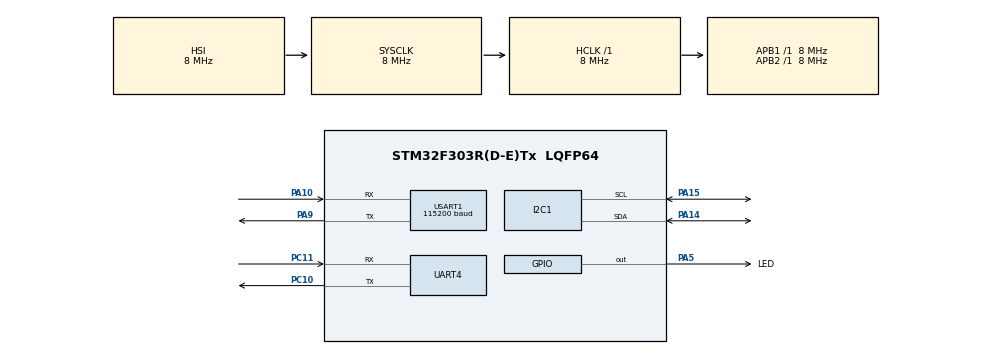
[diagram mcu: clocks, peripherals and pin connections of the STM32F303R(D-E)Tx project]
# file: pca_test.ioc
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Dma.Request0=USART1_RX
Dma.USART1_RX.0.Direction=DMA_PERIPH_TO_MEMORY
Dma.USART1_RX.0.Instance=DMA1_Channel5
Dma.USART1_RX.0.MemDataAlignment=DMA_MDATAALIGN_BYTE
Dma.USART1_RX.0.MemInc=DMA_MINC_ENABLE
Dma.USART1_RX.0.Mode=DMA_NORMAL
Dma.USART1_RX.0.PeriphDataAlignment=DMA_PDATAALIGN_BYTE
Dma.USART1_RX.0.PeriphInc=DMA_PINC_DISABLE
Dma.USART1_RX.0.Priority=DMA_PRIORITY_LOW
I2C1.Timing=0x00201D2B
Mcu.Family=STM32F3
Mcu.Name=STM32F303R(D-E)Tx
Mcu.Package=LQFP64
NVIC.DMA1_Channel5_IRQn=true\:0\:0\:false\:false\:true\:false\:true\:true
NVIC.PriorityGroup=NVIC_PRIORITYGROUP_4
PA10.Mode=Asynchronous
PA10.Signal=USART1_RX
PA14.Mode=I2C
PA14.Signal=I2C1_SDA
PA15.Mode=I2C
PA15.Signal=I2C1_SCL
PA5.GPIO_Label=LED
PA5.Signal=GPIO_Output
PA9.Mode=Asynchronous
PA9.Signal=USART1_TX
PC10.Mode=Asynchronous
PC10.Signal=UART4_TX
PC11.Mode=Asynchronous
PC11.Signal=UART4_RX
ProjectManager.HeapSize=0x200
ProjectManager.StackSize=0x400
ProjectManager.TargetToolchain=STM32CubeIDE
RCC.AHBFreq_Value=8000000
RCC.APB1Freq_Value=8000000
RCC.APB2Freq_Value=8000000
RCC.CortexFreq_Value=8000000
RCC.HSE_VALUE=8000000
RCC.HSI_VALUE=8000000
RCC.LSE_VALUE=32768
RCC.SYSCLKFreq_VALUE=8000000
USART1.BaudRate=115200
USART1.VirtualMode-Asynchronous=VM_ASYNC
board=custom

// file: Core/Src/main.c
/* USER CODE BEGIN Header */
/**
  ******************************************************************************
  * @file           : main.c
  * @brief          : Main program body
  ******************************************************************************
  * @attention
  *
  * Copyright (c) 2026 STMicroelectronics.
  * All rights reserved.
  *
  * This software is licensed under terms that can be found in the LICENSE file
  * in the root directory of this software component.
  * If no LICENSE file comes with this software, it is provided AS-IS.
  *
  ******************************************************************************
  */
/* USER CODE END Header */
#include "main.h"

/* USER CODE BEGIN PD */
#define PCA9685_ADDRESS_MOTOR (0x40 << 1) //default address at I2C bus 1
#define PCA9685_ADDRESS_CAM (0x41 << 1) //solder address pad 1
#define AS5600_ADDRESS (0x36 << 1)
#define AS5600_ANGLE_H 0x0E	//lower 4 of upper 8 bit register
#define AS5600_ANGLE_L 0x0F //lower 8 bits of angle (12 bit)
#define TCA9548A_ADDRESS (0x70 << 1)
#define PCA9685_PRESCALE 0xFE
#define PCA9685_MODE1 0x00 //normal working --> mode1
#define PCA9685_LED0_ON_L 0x06 //starting register of channel 0 of 16. Each channel has 4 registers

/* USER CODE END PD */

I2C_HandleTypeDef hi2c1;

UART_HandleTypeDef huart4;
UART_HandleTypeDef huart1;
DMA_HandleTypeDef hdma_usart1_rx;

void SystemClock_Config(void);
static void MX_GPIO_Init(void);
static void MX_DMA_Init(void);
static void MX_I2C1_Init(void);
static void MX_UART4_Init(void);
static void MX_USART1_UART_Init(void);

/* USER CODE BEGIN 0 */
//void PCA9685_MOTOR_Init(void) {
//    uint8_t mode1 = 0x00;
//    HAL_I2C_Mem_Write(&hi2c2, PCA9685_ADDRESS_MOTOR, PCA9685_MODE1, 1, &mode1, 1, HAL_MAX_DELAY);
//    HAL_Delay(3);
//}
//
//uint8_t mag_enc_array[] = {0,2,4,6};
////end
//
//
//// Set PWM frequency for Motors
//void PCA9685_MOTOR_SetFrequency(uint16_t freq) {
//    uint8_t prescale = (uint8_t)(25000000.0 / (4096 * freq) - 1);
//
//    uint8_t oldmode;
//    HAL_I2C_Mem_Read(&hi2c2, PCA9685_ADDRESS_MOTOR, PCA9685_MODE1, 1, &oldmode, 1, HAL_MAX_DELAY);
//
//    uint8_t newmode = (oldmode & 0x7F) | 0x10; // Sleep (make reset 0 and sleep bit 1)
//    HAL_I2C_Mem_Write(&hi2c2, PCA9685_ADDRESS_MOTOR, PCA9685_MODE1, 1, &newmode, 1, HAL_MAX_DELAY);
//    HAL_I2C_Mem_Write(&hi2c2, PCA9685_ADDRESS_MOTOR, PCA9685_PRESCALE, 1, &prescale, 1, HAL_MAX_DELAY);
//    HAL_I2C_Mem_Write(&hi2c2, PCA9685_ADDRESS_MOTOR, PCA9685_MODE1, 1, &oldmode, 1, HAL_MAX_DELAY);
//    HAL_Delay(3);
//
//    uint8_t mode = oldmode | 0xA0; // Auto-increment
//    HAL_I2C_Mem_Write(&hi2c2, PCA9685_ADDRESS_MOTOR, PCA9685_MODE1, 1, &mode, 1, HAL_MAX_DELAY);
//}
//
//void PCA9685_MOTOR_SetPWM(uint8_t channel, uint16_t on, uint16_t off) {
//    uint8_t data[4];
//    data[0] = on & 0xFF; //last 8 bits on LED_ON_L
//    data[1] = on >> 8; //top 8 (last 4 of those) on LED_ON_H
//    data[2] = off & 0xFF; //last 8 bits on LED_OFF_L
//    data[3] = off >> 8; //top 8 (last 4 of those) on LED_OFF_H
//
//    HAL_I2C_Mem_Write(&hi2c2, PCA9685_ADDRESS_MOTOR, PCA9685_LED0_ON_L + 4*channel, 1, data, 4, HAL_MAX_DELAY);
//}

/* USER CODE END 0 */

int main(void)
{

  /* MCU Configuration--------------------------------------------------------*/

  /* Reset of all peripherals, Initializes the Flash interface and the Systick. */
  HAL_Init();

  /* Configure the system clock */
  SystemClock_Config();

  /* Initialize all configured peripherals */
  MX_GPIO_Init();
  MX_DMA_Init();
  MX_I2C1_Init();
  MX_UART4_Init();
  MX_USART1_UART_Init();
  /* USER CODE BEGIN 2 */
//
//  PCA9685_MOTOR_Init();
//  PCA9685_MOTOR_SetFrequency(1000);
//  PCA9685_MOTOR_SetPWM(0, 0, 0);

  /* USER CODE END 2 */

  /* Infinite loop */
  while (1)
  {

    /* USER CODE BEGIN 3 */
	uint8_t msg[] = {1, 2};
	HAL_UART_Transmit(&huart4, msg, 2, HAL_MAX_DELAY);
	HAL_GPIO_WritePin(LED_GPIO_Port, LED_Pin, 1);
	HAL_Delay(20);
	HAL_GPIO_WritePin(LED_GPIO_Port, LED_Pin, 0);
	HAL_Delay(150);
  }
  /* USER CODE END 3 */
}

void SystemClock_Config(void)
{
  RCC_OscInitTypeDef RCC_OscInitStruct = {0};
  RCC_ClkInitTypeDef RCC_ClkInitStruct = {0};
  RCC_PeriphCLKInitTypeDef PeriphClkInit = {0};

  /** Initializes the RCC Oscillators according to the specified parameters
  * in the RCC_OscInitTypeDef structure.
  */
  RCC_OscInitStruct.OscillatorType = RCC_OSCILLATORTYPE_HSI;
  RCC_OscInitStruct.HSIState = RCC_HSI_ON;
  RCC_OscInitStruct.HSICalibrationValue = RCC_HSICALIBRATION_DEFAULT;
  RCC_OscInitStruct.PLL.PLLState = RCC_PLL_NONE;
  if (HAL_RCC_OscConfig(&RCC_OscInitStruct) != HAL_OK)
  {
    Error_Handler();
  }

  /** Initializes the CPU, AHB and APB buses clocks
  */
  RCC_ClkInitStruct.ClockType = RCC_CLOCKTYPE_HCLK|RCC_CLOCKTYPE_SYSCLK
                              |RCC_CLOCKTYPE_PCLK1|RCC_CLOCKTYPE_PCLK2;
  RCC_ClkInitStruct.SYSCLKSource = RCC_SYSCLKSOURCE_HSI;
  RCC_ClkInitStruct.AHBCLKDivider = RCC_SYSCLK_DIV1;
  RCC_ClkInitStruct.APB1CLKDivider = RCC_HCLK_DIV1;
  RCC_ClkInitStruct.APB2CLKDivider = RCC_HCLK_DIV1;

  if (HAL_RCC_ClockConfig(&RCC_ClkInitStruct, FLASH_LATENCY_0) != HAL_OK)
  {
    Error_Handler();
  }
  PeriphClkInit.PeriphClockSelection = RCC_PERIPHCLK_USART1|RCC_PERIPHCLK_UART4
                              |RCC_PERIPHCLK_I2C1;
  PeriphClkInit.Usart1ClockSelection = RCC_USART1CLKSOURCE_PCLK2;
  PeriphClkInit.Uart4ClockSelection = RCC_UART4CLKSOURCE_PCLK1;
  PeriphClkInit.I2c1ClockSelection = RCC_I2C1CLKSOURCE_HSI;
  if (HAL_RCCEx_PeriphCLKConfig(&PeriphClkInit) != HAL_OK)
  {
    Error_Handler();
  }
}

static void MX_I2C1_Init(void)
{

  hi2c1.Instance = I2C1;
  hi2c1.Init.Timing = 0x00201D2B;
  hi2c1.Init.OwnAddress1 = 0;
  hi2c1.Init.AddressingMode = I2C_ADDRESSINGMODE_7BIT;
  hi2c1.Init.DualAddressMode = I2C_DUALADDRESS_DISABLE;
  hi2c1.Init.OwnAddress2 = 0;
  hi2c1.Init.OwnAddress2Masks = I2C_OA2_NOMASK;
  hi2c1.Init.GeneralCallMode = I2C_GENERALCALL_DISABLE;
  hi2c1.Init.NoStretchMode = I2C_NOSTRETCH_DISABLE;
  if (HAL_I2C_Init(&hi2c1) != HAL_OK)
  {
    Error_Handler();
  }

  /** Configure Analogue filter
  */
  if (HAL_I2CEx_ConfigAnalogFilter(&hi2c1, I2C_ANALOGFILTER_ENABLE) != HAL_OK)
  {
    Error_Handler();
  }

  /** Configure Digital filter
  */
  if (HAL_I2CEx_ConfigDigitalFilter(&hi2c1, 0) != HAL_OK)
  {
    Error_Handler();
  }

}

static void MX_UART4_Init(void)
{

  huart4.Instance = UART4;
  huart4.Init.BaudRate = 115200;
  huart4.Init.WordLength = UART_WORDLENGTH_8B;
  huart4.Init.StopBits = UART_STOPBITS_1;
  huart4.Init.Parity = UART_PARITY_NONE;
  huart4.Init.Mode = UART_MODE_TX_RX;
  huart4.Init.HwFlowCtl = UART_HWCONTROL_NONE;
  huart4.Init.OverSampling = UART_OVERSAMPLING_16;
  huart4.Init.OneBitSampling = UART_ONE_BIT_SAMPLE_DISABLE;
  huart4.AdvancedInit.AdvFeatureInit = UART_ADVFEATURE_NO_INIT;
  if (HAL_UART_Init(&huart4) != HAL_OK)
  {
    Error_Handler();
  }

}

static void MX_USART1_UART_Init(void)
{

  huart1.Instance = USART1;
  huart1.Init.BaudRate = 115200;
  huart1.Init.WordLength = UART_WORDLENGTH_8B;
  huart1.Init.StopBits = UART_STOPBITS_1;
  huart1.Init.Parity = UART_PARITY_NONE;
  huart1.Init.Mode = UART_MODE_TX_RX;
  huart1.Init.HwFlowCtl = UART_HWCONTROL_NONE;
  huart1.Init.OverSampling = UART_OVERSAMPLING_16;
  huart1.Init.OneBitSampling = UART_ONE_BIT_SAMPLE_DISABLE;
  huart1.AdvancedInit.AdvFeatureInit = UART_ADVFEATURE_NO_INIT;
  if (HAL_UART_Init(&huart1) != HAL_OK)
  {
    Error_Handler();
  }

}

static void MX_DMA_Init(void)
{

  /* DMA controller clock enable */
  __HAL_RCC_DMA1_CLK_ENABLE();

  /* DMA interrupt init */
  /* DMA1_Channel5_IRQn interrupt configuration */
  HAL_NVIC_SetPriority(DMA1_Channel5_IRQn, 0, 0);
  HAL_NVIC_EnableIRQ(DMA1_Channel5_IRQn);

}

static void MX_GPIO_Init(void)
{
  GPIO_InitTypeDef GPIO_InitStruct = {0};

  /* GPIO Ports Clock Enable */
  __HAL_RCC_GPIOA_CLK_ENABLE();
  __HAL_RCC_GPIOC_CLK_ENABLE();

  /*Configure GPIO pin Output Level */
  HAL_GPIO_WritePin(LED_GPIO_Port, LED_Pin, GPIO_PIN_RESET);

  /*Configure GPIO pin : LED_Pin */
  GPIO_InitStruct.Pin = LED_Pin;
  GPIO_InitStruct.Mode = GPIO_MODE_OUTPUT_PP;
  GPIO_InitStruct.Pull = GPIO_NOPULL;
  GPIO_InitStruct.Speed = GPIO_SPEED_FREQ_LOW;
  HAL_GPIO_Init(LED_GPIO_Port, &GPIO_InitStruct);

}

void Error_Handler(void)
{
  __disable_irq();
  while (1)
  {
  }
}
